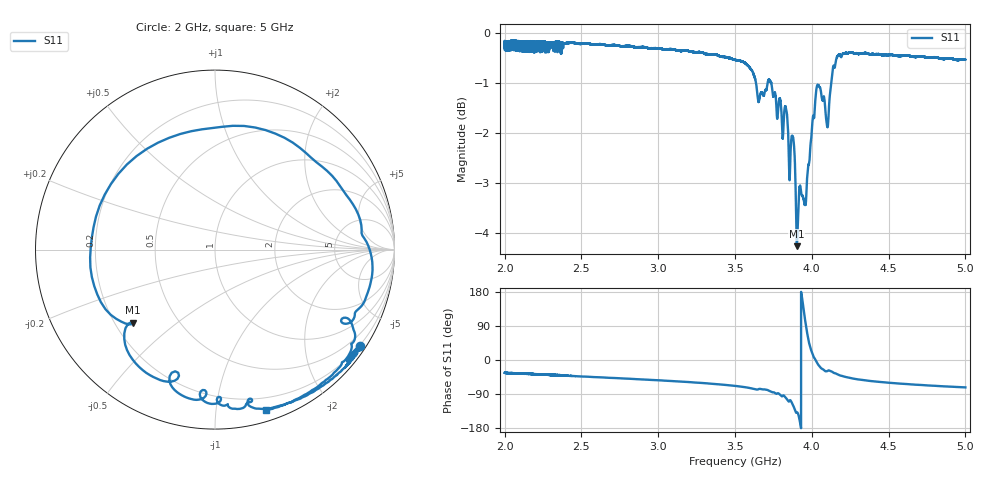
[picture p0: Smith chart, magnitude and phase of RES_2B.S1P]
!Agilent Technologies,E5071C,MY46214220,A.11.31
!Date: Fri Sep 22 10:22:38 2017
!Data & Calibration Information:
!Freq	S11:SOLT1(ON)
!PortZ  Port1:50+j0
!Above PortZ is port z conversion or system Z0 setting when saving the data.
!When reading, reference impedance value at option line is always used.
# Hz S dB R 50
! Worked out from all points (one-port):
!   20000 points, 2 GHz to 5 GHz, reference 50 ohm
!   lowest |S11| = -4.3 dB at 3.903 GHz (marker M1), VSWR 4.15, Z = 13.7 - j17.8 ohm
!   |S11| at or under -10 dB: nowhere
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2e9  -0.28 -33.7
2.375019e9  -0.20 -41.1
2.750038e9  -0.26 -48.3
3.125056e9  -0.35 -56.4
3.500075e9  -0.54 -68.2
3.637032e9  -1.00 -77.6
3.709935e9  -1.05 -78.9
3.821091e9  -1.57 -95.1
3.875094e9  -2.07 -116.8
3.902695e9  -4.27 -138.4
3.919646e9  -3.09 -156.8
3.928196e9  -3.12 -175.3
3.935397e9  -3.25 167.3
3.943197e9  -3.29 145.1
3.952048e9  -3.41 118.0
3.965548e9  -3.15 82.2
3.979199e9  -2.63 50.4
3.99135e9  -2.24 31.8
4.00605e9  -1.72 14.4
4.024201e9  -1.29 -0.0
4.049552e9  -1.08 -16.6
4.075354e9  -1.30 -25.2
4.098155e9  -1.84 -29.6
4.117056e9  -1.26 -28.3
4.146607e9  -0.69 -34.6
4.250113e9  -0.39 -47.4
4.625131e9  -0.45 -63.6
5e9  -0.54 -72.3
